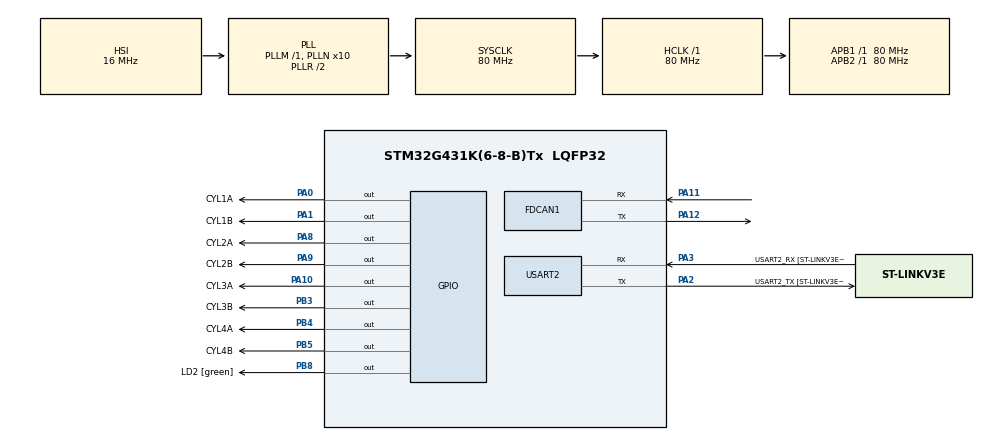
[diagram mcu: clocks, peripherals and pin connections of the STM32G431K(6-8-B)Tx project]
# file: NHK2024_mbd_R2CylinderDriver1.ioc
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FDCAN1.CalculateBaudRateNominal=1000000
FDCAN1.CalculateTimeBitNominal=1000
FDCAN1.CalculateTimeQuantumNominal=50.0
FDCAN1.DataPrescaler=2
FDCAN1.DataSyncJumpWidth=1
FDCAN1.DataTimeSeg1=16
FDCAN1.DataTimeSeg2=3
FDCAN1.FrameFormat=FDCAN_FRAME_FD_BRS
FDCAN1.NominalPrescaler=4
FDCAN1.NominalSyncJumpWidth=1
FDCAN1.NominalTimeSeg1=16
FDCAN1.NominalTimeSeg2=3
FDCAN1.StdFiltersNbr=1
Mcu.Family=STM32G4
Mcu.Name=STM32G431K(6-8-B)Tx
Mcu.Package=LQFP32
NVIC.FDCAN1_IT0_IRQn=true\:0\:0\:false\:false\:true\:true\:true\:true
NVIC.FDCAN1_IT1_IRQn=true\:0\:0\:false\:false\:true\:true\:true\:true
NVIC.PriorityGroup=NVIC_PRIORITYGROUP_4
PA0.GPIO_Label=CYL1A
PA0.Signal=GPIO_Output
PA1.GPIO_Label=CYL1B
PA1.Signal=GPIO_Output
PA10.GPIO_Label=CYL3A
PA10.Signal=GPIO_Output
PA11.Mode=FDCAN_Activate
PA11.Signal=FDCAN1_RX
PA12.Mode=FDCAN_Activate
PA12.Signal=FDCAN1_TX
PA13.GPIO_Label=T_SWDIO
PA13.Mode=Serial_Wire
PA13.Signal=SYS_JTMS-SWDIO
PA14.GPIO_Label=T_SWCLK
PA14.Mode=Serial_Wire
PA14.Signal=SYS_JTCK-SWCLK
PA2.GPIO_Label=USART2_TX [ST-LINKV3E_VCP_RX]
PA2.Mode=Asynchronous
PA2.Signal=USART2_TX
PA3.GPIO_Label=USART2_RX [ST-LINKV3E_VCP_TX]
PA3.Mode=Asynchronous
PA3.Signal=USART2_RX
PA8.GPIO_Label=CYL2A
PA8.Signal=GPIO_Output
PA9.GPIO_Label=CYL2B
PA9.Signal=GPIO_Output
PB3.GPIO_Label=CYL3B
PB3.Signal=GPIO_Output
PB4.GPIO_Label=CYL4A
PB4.Signal=GPIO_Output
PB5.GPIO_Label=CYL4B
PB5.Signal=GPIO_Output
PB8-BOOT0.GPIO_Label=LD2 [green]
PB8-BOOT0.Signal=GPIO_Output
ProjectManager.HeapSize=0x200
ProjectManager.StackSize=0x400
ProjectManager.TargetToolchain=STM32CubeIDE
RCC.ADC12Freq_Value=80000000
RCC.AHBFreq_Value=80000000
RCC.APB1Freq_Value=80000000
RCC.APB1TimFreq_Value=80000000
RCC.APB2Freq_Value=80000000
RCC.APB2TimFreq_Value=80000000
RCC.CortexFreq_Value=80000000
RCC.EXTERNAL_CLOCK_VALUE=12288000
RCC.HCLKFreq_Value=80000000
RCC.HSE_VALUE=8000000
RCC.HSI48_VALUE=48000000
RCC.HSI_VALUE=16000000
RCC.LSE_VALUE=32768
RCC.PLLN=10
RCC.SYSCLKFreq_VALUE=80000000
RCC.SYSCLKSource=RCC_SYSCLKSOURCE_PLLCLK
RCC.USBFreq_Value=80000000
RCC.VCOOutputFreq_Value=160000000
USART2.VirtualMode-Asynchronous=VM_ASYNC
USART2.WordLength=WORDLENGTH_8B
board=NUCLEO-G431KB

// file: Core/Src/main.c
/* USER CODE BEGIN Header */
/**
  ******************************************************************************
  * @file           : main.c
  * @brief          : Main program body
  ******************************************************************************
  * @attention
  *
  * Copyright (c) 2024 STMicroelectronics.
  * All rights reserved.
  *
  * This software is licensed under terms that can be found in the LICENSE file
  * in the root directory of this software component.
  * If no LICENSE file comes with this software, it is provided AS-IS.
  *
  ******************************************************************************
  */
/* USER CODE END Header */
#include "main.h"

/* USER CODE BEGIN Includes */
#include "R2CANIDList.h"
#include <stdio.h>

/* USER CODE END Includes */

/* USER CODE BEGIN PM */
#define INIT 3
#define UP 1
#define DOWN 2
/* USER CODE END PM */

FDCAN_HandleTypeDef hfdcan1;

UART_HandleTypeDef huart2;

/* USER CODE BEGIN PV */
GPIO_TypeDef *GPIOs[8] = {CYL1A_GPIO_Port, CYL1B_GPIO_Port, CYL2A_GPIO_Port, CYL2B_GPIO_Port, CYL3A_GPIO_Port, CYL3B_GPIO_Port, CYL4A_GPIO_Port, CYL4B_GPIO_Port};
uint16_t GPIOPins[8] = {CYL1A_Pin, CYL1B_Pin, CYL2A_Pin, CYL2B_Pin, CYL3A_Pin, CYL3B_Pin, CYL4A_Pin, CYL4B_Pin};

FDCAN_RxHeaderTypeDef RxHeader;
uint8_t RxData[64] = {};

uint8_t flag = 0;
uint8_t flag2 = 0;
uint8_t status = 0;
uint8_t status2 = 0;
/* USER CODE END PV */

void SystemClock_Config(void);
static void MX_GPIO_Init(void);
static void MX_USART2_UART_Init(void);
static void MX_FDCAN1_Init(void);
/* USER CODE BEGIN PFP */
void USR_ArmUp(void);
void USR_ArmDown(void);
void USR_ArmInit(void);
/* USER CODE END PFP */

/* USER CODE BEGIN 0 */
void USR_CamUp(void){
	HAL_GPIO_WritePin(CYL3A_GPIO_Port, CYL3A_Pin, GPIO_PIN_SET);
}

void USR_CamDown(void){
	HAL_GPIO_WritePin(CYL3A_GPIO_Port, CYL3A_Pin, GPIO_PIN_RESET);
}

void USR_ArmInit(void){
	HAL_GPIO_WritePin(CYL1A_GPIO_Port, CYL1A_Pin, GPIO_PIN_RESET);
	HAL_GPIO_WritePin(CYL1B_GPIO_Port, CYL1B_Pin, GPIO_PIN_RESET);
	HAL_GPIO_WritePin(CYL2A_GPIO_Port, CYL2A_Pin, GPIO_PIN_RESET);
	HAL_GPIO_WritePin(CYL2B_GPIO_Port, CYL2B_Pin, GPIO_PIN_SET);
}
void USR_ArmDown(void){
	HAL_GPIO_WritePin(CYL1A_GPIO_Port, CYL1A_Pin, GPIO_PIN_SET);
	HAL_GPIO_WritePin(CYL1B_GPIO_Port, CYL1B_Pin, GPIO_PIN_RESET);
	HAL_GPIO_WritePin(CYL2A_GPIO_Port, CYL2A_Pin, GPIO_PIN_SET);
	HAL_GPIO_WritePin(CYL2B_GPIO_Port, CYL2B_Pin, GPIO_PIN_RESET);

	//free fall
	HAL_Delay(100);
	HAL_GPIO_WritePin(CYL1A_GPIO_Port, CYL1A_Pin, GPIO_PIN_RESET);
	HAL_GPIO_WritePin(CYL2A_GPIO_Port, CYL2A_Pin, GPIO_PIN_RESET);
//
//	//brake
//	HAL_Delay(200);
//	HAL_GPIO_WritePin(CYL1A_GPIO_Port, CYL1A_Pin, GPIO_PIN_RESET);
//	HAL_GPIO_WritePin(CYL1B_GPIO_Port, CYL1B_Pin, GPIO_PIN_SET);
//	HAL_GPIO_WritePin(CYL2A_GPIO_Port, CYL2A_Pin, GPIO_PIN_RESET);
//	HAL_GPIO_WritePin(CYL2B_GPIO_Port, CYL2B_Pin, GPIO_PIN_SET);
//
//	HAL_Delay(80);
//	//static
//	HAL_GPIO_WritePin(CYL1A_GPIO_Port, CYL1A_Pin, GPIO_PIN_SET);
//	HAL_GPIO_WritePin(CYL1B_GPIO_Port, CYL1B_Pin, GPIO_PIN_RESET);
//	HAL_GPIO_WritePin(CYL2A_GPIO_Port, CYL2A_Pin, GPIO_PIN_SET);
//	HAL_GPIO_WritePin(CYL2B_GPIO_Port, CYL2B_Pin, GPIO_PIN_RESET);

}

void USR_ArmUp(void){
	HAL_GPIO_WritePin(CYL1A_GPIO_Port, CYL1A_Pin, GPIO_PIN_RESET);
	HAL_GPIO_WritePin(CYL1B_GPIO_Port, CYL1B_Pin, GPIO_PIN_SET);
	HAL_GPIO_WritePin(CYL2A_GPIO_Port, CYL2A_Pin, GPIO_PIN_RESET);
	HAL_GPIO_WritePin(CYL2B_GPIO_Port, CYL2B_Pin, GPIO_PIN_SET);

	HAL_Delay(200);
	for(uint8_t i = 0; i<3; i++){
		HAL_GPIO_WritePin(CYL1A_GPIO_Port, CYL1A_Pin, GPIO_PIN_RESET);
		HAL_GPIO_WritePin(CYL1B_GPIO_Port, CYL1B_Pin, GPIO_PIN_SET);
		HAL_GPIO_WritePin(CYL2A_GPIO_Port, CYL2A_Pin, GPIO_PIN_RESET);
		HAL_GPIO_WritePin(CYL2B_GPIO_Port, CYL2B_Pin, GPIO_PIN_SET);

		HAL_Delay(60);

		HAL_GPIO_WritePin(CYL1A_GPIO_Port, CYL1A_Pin, GPIO_PIN_RESET);
		HAL_GPIO_WritePin(CYL1B_GPIO_Port, CYL1B_Pin, GPIO_PIN_RESET);
		HAL_GPIO_WritePin(CYL2A_GPIO_Port, CYL2A_Pin, GPIO_PIN_RESET);
		HAL_GPIO_WritePin(CYL2B_GPIO_Port, CYL2B_Pin, GPIO_PIN_RESET);
		HAL_Delay(60);

	}
	HAL_GPIO_WritePin(CYL1A_GPIO_Port, CYL1A_Pin, GPIO_PIN_RESET);
	HAL_GPIO_WritePin(CYL1B_GPIO_Port, CYL1B_Pin, GPIO_PIN_SET);
	HAL_GPIO_WritePin(CYL2A_GPIO_Port, CYL2A_Pin, GPIO_PIN_RESET);
	HAL_GPIO_WritePin(CYL2B_GPIO_Port, CYL2B_Pin, GPIO_PIN_SET);

}

void HAL_FDCAN_RxFifo0Callback(FDCAN_HandleTypeDef *hfdcan, uint32_t RxFifo0ITs){
	if ((RxFifo0ITs & FDCAN_IT_RX_FIFO0_NEW_MESSAGE) != RESET) {
		/* Retrieve Rx messages from RX FIFO0 */
		if (HAL_FDCAN_GetRxMessage(&hfdcan1, FDCAN_RX_FIFO0, &RxHeader, RxData) != HAL_OK) {
			Error_Handler();
		}

		if(RxHeader.Identifier == CANID_ARM){
			if(RxData[0] == 0){
				flag = UP;
			}
			else if(RxData[0] == 1){
				flag = DOWN;
			}
			else if(RxData[0] == 2){
				flag = INIT;
			}
		}
		if(RxHeader.Identifier == CANID_CAM_ARM){
			if(RxData[0] == 1){
				flag = DOWN;
				flag2 = UP;
			}
			if(RxData[0] == 0){
				flag2 = DOWN;
			}
		}
	}
}

int _write(int file, char *ptr, int len)
{
    HAL_UART_Transmit(&huart2,(uint8_t *)ptr,len,10);
    return len;
}

/* USER CODE END 0 */

int main(void)
{
  /* USER CODE BEGIN 1 */
	setbuf(stdout, NULL);
  /* USER CODE END 1 */

  /* MCU Configuration--------------------------------------------------------*/

  /* Reset of all peripherals, Initializes the Flash interface and the Systick. */
  HAL_Init();

  /* USER CODE BEGIN Init */
  FDCAN_FilterTypeDef sFilterConfig;
	sFilterConfig.IdType = FDCAN_STANDARD_ID;
	sFilterConfig.FilterIndex = 0;
	sFilterConfig.FilterType = FDCAN_FILTER_MASK;
	sFilterConfig.FilterConfig = FDCAN_FILTER_TO_RXFIFO0;
	sFilterConfig.FilterID1 = CANID_ARM;
	sFilterConfig.FilterID2 = 0x000;

  /* USER CODE END Init */

  /* Configure the system clock */
  SystemClock_Config();

  /* Initialize all configured peripherals */
  MX_GPIO_Init();
  MX_USART2_UART_Init();
  MX_FDCAN1_Init();
  /* USER CODE BEGIN 2 */
  if (HAL_FDCAN_ConfigFilter(&hfdcan1, &sFilterConfig) != HAL_OK) {
		Error_Handler();
	}
	if (HAL_FDCAN_ConfigGlobalFilter(&hfdcan1, FDCAN_REJECT, FDCAN_REJECT, FDCAN_FILTER_REMOTE, FDCAN_FILTER_REMOTE) != HAL_OK) {
		Error_Handler();
	}

	if (HAL_FDCAN_Start(&hfdcan1) != HAL_OK) {
		Error_Handler();
	}

	if (HAL_FDCAN_ActivateNotification(&hfdcan1, FDCAN_IT_RX_FIFO0_NEW_MESSAGE, 0) != HAL_OK) {
		Error_Handler();
	}

	USR_ArmInit();
  flag = 0;
  flag2 = 0;
  status = INIT;

  /* USER CODE END 2 */

  /* Infinite loop */
  /* USER CODE BEGIN WHILE */
  while (1)
  {
	  if(status != flag){
		  if(flag == UP){
			  USR_ArmUp();
			  printf("Arm Up\r\n");
			  flag = 0;
			  status = UP;

		  }
		  else if(flag == DOWN){
			  USR_ArmDown();
			  printf("Arm Down\r\n");
			  flag = 0;
			  status = DOWN;
		  }
		  else if (flag == INIT){
			  USR_ArmInit();
			  printf("Arm Init\r\n");
			  flag = 0;
			  status = INIT;
		  }
	  }
	  if(status2 != flag2){
		  if(flag2 == UP){
			  USR_CamUp();
			  status2 = UP;
			  flag2 = 0;
		  }

		  else if(flag2 == DOWN){
			  USR_CamDown();
			  status2 = DOWN;
			  flag2=0;
		  }
	  }

	  HAL_Delay(10);
    /* USER CODE END WHILE */

  }
}

void SystemClock_Config(void)
{
  RCC_OscInitTypeDef RCC_OscInitStruct = {0};
  RCC_ClkInitTypeDef RCC_ClkInitStruct = {0};

  /** Configure the main internal regulator output voltage
  */
  HAL_PWREx_ControlVoltageScaling(PWR_REGULATOR_VOLTAGE_SCALE1);

  /** Initializes the RCC Oscillators according to the specified parameters
  * in the RCC_OscInitTypeDef structure.
  */
  RCC_OscInitStruct.OscillatorType = RCC_OSCILLATORTYPE_HSI;
  RCC_OscInitStruct.HSIState = RCC_HSI_ON;
  RCC_OscInitStruct.HSICalibrationValue = RCC_HSICALIBRATION_DEFAULT;
  RCC_OscInitStruct.PLL.PLLState = RCC_PLL_ON;
  RCC_OscInitStruct.PLL.PLLSource = RCC_PLLSOURCE_HSI;
  RCC_OscInitStruct.PLL.PLLM = RCC_PLLM_DIV1;
  RCC_OscInitStruct.PLL.PLLN = 10;
  RCC_OscInitStruct.PLL.PLLP = RCC_PLLP_DIV2;
  RCC_OscInitStruct.PLL.PLLQ = RCC_PLLQ_DIV2;
  RCC_OscInitStruct.PLL.PLLR = RCC_PLLR_DIV2;
  if (HAL_RCC_OscConfig(&RCC_OscInitStruct) != HAL_OK)
  {
    Error_Handler();
  }

  /** Initializes the CPU, AHB and APB buses clocks
  */
  RCC_ClkInitStruct.ClockType = RCC_CLOCKTYPE_HCLK|RCC_CLOCKTYPE_SYSCLK
                              |RCC_CLOCKTYPE_PCLK1|RCC_CLOCKTYPE_PCLK2;
  RCC_ClkInitStruct.SYSCLKSource = RCC_SYSCLKSOURCE_PLLCLK;
  RCC_ClkInitStruct.AHBCLKDivider = RCC_SYSCLK_DIV1;
  RCC_ClkInitStruct.APB1CLKDivider = RCC_HCLK_DIV1;
  RCC_ClkInitStruct.APB2CLKDivider = RCC_HCLK_DIV1;

  if (HAL_RCC_ClockConfig(&RCC_ClkInitStruct, FLASH_LATENCY_2) != HAL_OK)
  {
    Error_Handler();
  }
}

static void MX_FDCAN1_Init(void)
{

  hfdcan1.Instance = FDCAN1;
  hfdcan1.Init.ClockDivider = FDCAN_CLOCK_DIV1;
  hfdcan1.Init.FrameFormat = FDCAN_FRAME_FD_BRS;
  hfdcan1.Init.Mode = FDCAN_MODE_NORMAL;
  hfdcan1.Init.AutoRetransmission = DISABLE;
  hfdcan1.Init.TransmitPause = DISABLE;
  hfdcan1.Init.ProtocolException = DISABLE;
  hfdcan1.Init.NominalPrescaler = 4;
  hfdcan1.Init.NominalSyncJumpWidth = 1;
  hfdcan1.Init.NominalTimeSeg1 = 16;
  hfdcan1.Init.NominalTimeSeg2 = 3;
  hfdcan1.Init.DataPrescaler = 2;
  hfdcan1.Init.DataSyncJumpWidth = 1;
  hfdcan1.Init.DataTimeSeg1 = 16;
  hfdcan1.Init.DataTimeSeg2 = 3;
  hfdcan1.Init.StdFiltersNbr = 1;
  hfdcan1.Init.ExtFiltersNbr = 0;
  hfdcan1.Init.TxFifoQueueMode = FDCAN_TX_FIFO_OPERATION;
  if (HAL_FDCAN_Init(&hfdcan1) != HAL_OK)
  {
    Error_Handler();
  }

}

static void MX_USART2_UART_Init(void)
{

  huart2.Instance = USART2;
  huart2.Init.BaudRate = 115200;
  huart2.Init.WordLength = UART_WORDLENGTH_8B;
  huart2.Init.StopBits = UART_STOPBITS_1;
  huart2.Init.Parity = UART_PARITY_NONE;
  huart2.Init.Mode = UART_MODE_TX_RX;
  huart2.Init.HwFlowCtl = UART_HWCONTROL_NONE;
  huart2.Init.OverSampling = UART_OVERSAMPLING_16;
  huart2.Init.OneBitSampling = UART_ONE_BIT_SAMPLE_DISABLE;
  huart2.Init.ClockPrescaler = UART_PRESCALER_DIV1;
  huart2.AdvancedInit.AdvFeatureInit = UART_ADVFEATURE_NO_INIT;
  if (HAL_UART_Init(&huart2) != HAL_OK)
  {
    Error_Handler();
  }
  if (HAL_UARTEx_SetTxFifoThreshold(&huart2, UART_TXFIFO_THRESHOLD_1_8) != HAL_OK)
  {
    Error_Handler();
  }
  if (HAL_UARTEx_SetRxFifoThreshold(&huart2, UART_RXFIFO_THRESHOLD_1_8) != HAL_OK)
  {
    Error_Handler();
  }
  if (HAL_UARTEx_DisableFifoMode(&huart2) != HAL_OK)
  {
    Error_Handler();
  }

}

static void MX_GPIO_Init(void)
{
  GPIO_InitTypeDef GPIO_InitStruct = {0};

  /* GPIO Ports Clock Enable */
  __HAL_RCC_GPIOA_CLK_ENABLE();
  __HAL_RCC_GPIOB_CLK_ENABLE();

  /*Configure GPIO pin Output Level */
  HAL_GPIO_WritePin(GPIOA, CYL1A_Pin|CYL1B_Pin|CYL2A_Pin|CYL2B_Pin
                          |CYL3A_Pin, GPIO_PIN_RESET);

  /*Configure GPIO pin Output Level */
  HAL_GPIO_WritePin(GPIOB, CYL3B_Pin|CYL4A_Pin|CYL4B_Pin|LD2_Pin, GPIO_PIN_RESET);

  /*Configure GPIO pins : CYL1A_Pin CYL1B_Pin CYL2A_Pin CYL2B_Pin
                           CYL3A_Pin */
  GPIO_InitStruct.Pin = CYL1A_Pin|CYL1B_Pin|CYL2A_Pin|CYL2B_Pin
                          |CYL3A_Pin;
  GPIO_InitStruct.Mode = GPIO_MODE_OUTPUT_PP;
  GPIO_InitStruct.Pull = GPIO_NOPULL;
  GPIO_InitStruct.Speed = GPIO_SPEED_FREQ_LOW;
  HAL_GPIO_Init(GPIOA, &GPIO_InitStruct);

  /*Configure GPIO pins : CYL3B_Pin CYL4A_Pin CYL4B_Pin LD2_Pin */
  GPIO_InitStruct.Pin = CYL3B_Pin|CYL4A_Pin|CYL4B_Pin|LD2_Pin;
  GPIO_InitStruct.Mode = GPIO_MODE_OUTPUT_PP;
  GPIO_InitStruct.Pull = GPIO_NOPULL;
  GPIO_InitStruct.Speed = GPIO_SPEED_FREQ_LOW;
  HAL_GPIO_Init(GPIOB, &GPIO_InitStruct);

}

void Error_Handler(void)
{
  __disable_irq();
  while (1)
  {
  }
}
